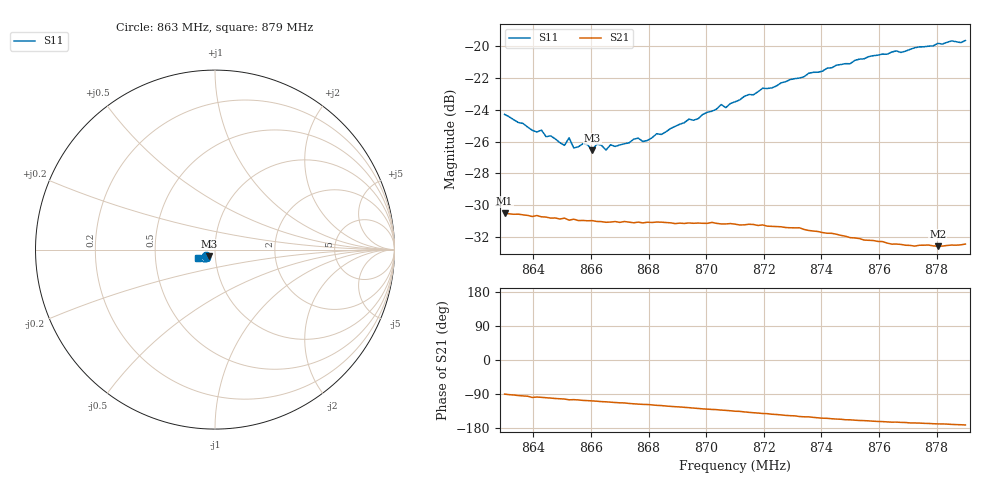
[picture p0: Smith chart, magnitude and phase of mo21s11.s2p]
# HZ S RI R 50
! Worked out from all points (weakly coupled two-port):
!   101 points, 863 MHz to 879 MHz, reference 50 ohm
!   highest |S21| = -30.52 dB at 863 MHz (marker M1); lowest = -32.6 dB at 878.04 MHz (marker M2)
!   lowest |S11| = -26.6 dB at 866.04 MHz (marker M3), VSWR 1.10, Z = 46.9 - j3.35 ohm
!   |S11| at or under -10 dB: start of sweep to end of sweep
!   S12 and S22 are empty: the file has one direction only
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8.63e8  -0.0503 -0.0346  -2.5e-05 -0.0298  0 0  0 0
8.6396e8  -0.0435 -0.0327  -0.00446 -0.0287  0 0  0 0
8.6428e8  -0.0414 -0.0354  -0.00432 -0.0287  0 0  0 0
8.6444e8  -0.0405 -0.0325  -0.00481 -0.0286  0 0  0 0
8.6508e8  -0.0349 -0.034  -0.00648 -0.028  0 0  0 0
8.6524e8  -0.0376 -0.0352  -0.00735 -0.0273  0 0  0 0
8.654e8  -0.0333 -0.0343  -0.0072 -0.0276  0 0  0 0
8.6572e8  -0.0333 -0.0364  -0.00808 -0.0271  0 0  0 0
8.6604e8  -0.0307 -0.0356  -0.00868 -0.0269  0 0  0 0
8.662e8  -0.0322 -0.0372  -0.00901 -0.0266  0 0  0 0
8.6652e8  -0.0277 -0.0382  -0.0097 -0.0261  0 0  0 0
8.6668e8  -0.0298 -0.0388  -0.0101 -0.026  0 0  0 0
8.6764e8  -0.0276 -0.0433  -0.0124 -0.025  0 0  0 0
8.678e8  -0.0263 -0.0427  -0.0126 -0.0247  0 0  0 0
8.6844e8  -0.0255 -0.0462  -0.0141 -0.0241  0 0  0 0
8.7052e8  -0.0298 -0.0584  -0.0185 -0.0204  0 0  0 0
8.7068e8  -0.0287 -0.0573  -0.0188 -0.0202  0 0  0 0
8.71e8  -0.0315 -0.059  -0.0195 -0.0194  0 0  0 0
8.7372e8  -0.0477 -0.0678  -0.023 -0.0125  0 0  0 0
8.7644e8  -0.0719 -0.0636  -0.0229 -0.00658  0 0  0 0
8.7804e8  -0.0853 -0.0564  -0.023 -0.00463  0 0  0 0
8.79e8  -0.093 -0.0476  -0.0235 -0.00355  0 0  0 0
